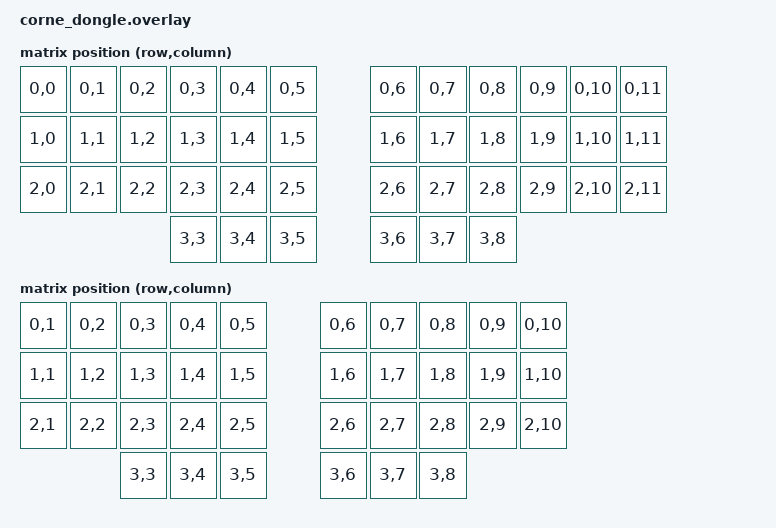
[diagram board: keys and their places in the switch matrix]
/*
 * Dongle-as-central shield: no physical keys of its own, just a mock kscan
 * so the build has a chosen zmk,kscan. corne_left/corne_right resolve
 * their positions through the "zmk,physical-layout" system (see corne.dtsi
 * upstream: chosen zmk,physical-layout = &foostan_corne_6col_layout, whose
 * position-map is what actually numbers the 42 keymap positions), NOT
 * through a bare "zmk,matrix_transform" chosen.
 *
 * On every BLE connect, the central pushes the *index* of its selected
 * physical layout to each peripheral (split/bluetooth/central.c:
 * update_peripherals_selected_physical_layout -> service.c:
 * split_svc_select_phys_layout), and the peripheral looks that index up in
 * ITS OWN local list of physical-layout nodes (physical_layouts.c:
 * zmk_physical_layouts_select). corne_left/corne_right pull in both
 * 5column.dtsi and 6column.dtsi via corne.dtsi, in that order, so on them
 * index 0 = 5-column and index 1 = 6-column. This shield used to include
 * only 6column.dtsi, which made 6-column index 0 here - so on connect the
 * dongle told the peripherals "select index 0", and they switched onto
 * their *5-column* layout (fewer columns, different matrix-transform and
 * position numbering), scrambling key positions. Including 5column.dtsi
 * here too, in the same order as corne.dtsi, keeps the indices aligned
 * even though the dongle itself never actually scans through either
 * transform.
 */

#include <dt-bindings/zmk/matrix_transform.h>
#include <layouts/foostan/corne/5column.dtsi>
#include <layouts/foostan/corne/6column.dtsi>

/ {
    chosen {
        zmk,kscan = &mock_kscan;
        zmk,physical-layout = &foostan_corne_6col_layout;
    };

    mock_kscan: mock_kscan_0 {
        compatible = "zmk,kscan-mock";
        columns = <0>;
        rows = <0>;
        events = <0>;
    };

    default_transform: keymap_transform_0 {
        compatible = "zmk,matrix-transform";
        columns = <12>;
        rows = <4>;
        map = <
RC(0,0) RC(0,1) RC(0,2) RC(0,3) RC(0,4) RC(0,5)   RC(0,6) RC(0,7) RC(0,8) RC(0,9) RC(0,10) RC(0,11)
RC(1,0) RC(1,1) RC(1,2) RC(1,3) RC(1,4) RC(1,5)   RC(1,6) RC(1,7) RC(1,8) RC(1,9) RC(1,10) RC(1,11)
RC(2,0) RC(2,1) RC(2,2) RC(2,3) RC(2,4) RC(2,5)   RC(2,6) RC(2,7) RC(2,8) RC(2,9) RC(2,10) RC(2,11)
                        RC(3,3) RC(3,4) RC(3,5)   RC(3,6) RC(3,7) RC(3,8)
        >;
    };

    five_column_transform: keymap_transform_1 {
        compatible = "zmk,matrix-transform";
        columns = <10>;
        rows = <4>;
        map = <
RC(0,1) RC(0,2) RC(0,3) RC(0,4) RC(0,5)  RC(0,6) RC(0,7) RC(0,8) RC(0,9) RC(0,10)
RC(1,1) RC(1,2) RC(1,3) RC(1,4) RC(1,5)  RC(1,6) RC(1,7) RC(1,8) RC(1,9) RC(1,10)
RC(2,1) RC(2,2) RC(2,3) RC(2,4) RC(2,5)  RC(2,6) RC(2,7) RC(2,8) RC(2,9) RC(2,10)
                        RC(3,3) RC(3,4) RC(3,5)  RC(3,6) RC(3,7) RC(3,8)
        >;
    };
};

&foostan_corne_6col_layout {
    transform = <&default_transform>;
};

&foostan_corne_5col_layout {
    transform = <&five_column_transform>;
};
